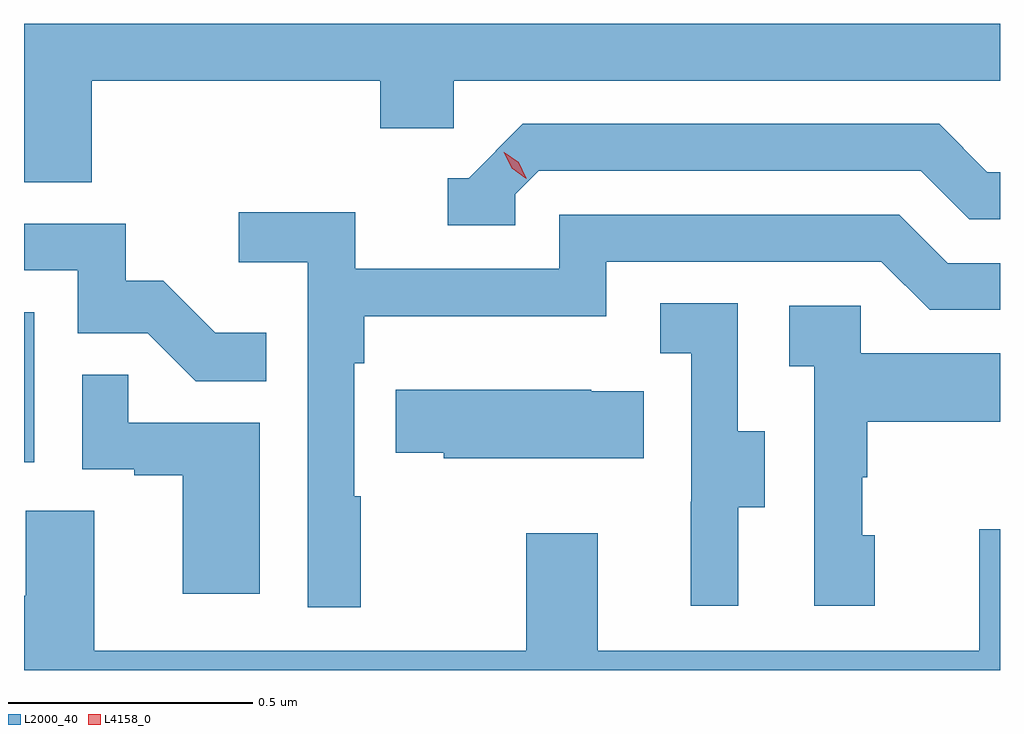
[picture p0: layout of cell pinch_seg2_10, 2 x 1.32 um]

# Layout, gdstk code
import gdstk
lib = gdstk.Library(unit=1e-6, precision=1e-09)
def R(c, l, rs):  # rectangles x0, y0, x1, y1
    for r in rs: c.add(gdstk.rectangle(r[:2], r[2:], *l))
def P(c, l, *ps):  # polygons
    for p in ps: c.add(gdstk.Polygon(p, *l))
L2000_40 = (2000, 40)
L4158_0 = (4158, 0)

pinch_seg2_10 = lib.new_cell('pinch_seg2_10')
R(pinch_seg2_10, L2000_40, [(1142.041,665.502,1142.062,665.809)])
P(pinch_seg2_10, L2000_40, [(1142.18,666.284),(1142.771,666.284),(1142.771,666.186),(1142.922,666.186),(1142.922,666.284),(1144.041,666.284),(1144.041,666.4),(1142.041,666.4),(1142.041,666.076),(1142.18,666.076)],
  [(1143.048,666.051),(1143.096,666.099),(1143.879,666.099),(1143.978,666),(1144.041,666),(1144.041,666.096),(1144.015,666.096),(1143.916,666.195),(1143.063,666.195),(1142.952,666.084),(1142.909,666.084),(1142.909,665.988),(1143.048,665.988)],
  [(1142.731,665.432),(1142.718,665.432),(1142.718,665.705),(1142.738,665.705),(1142.738,665.801),(1143.234,665.801),(1143.234,665.913),(1143.798,665.913),(1143.897,665.814),(1144.041,665.814),(1144.041,665.91),(1143.934,665.91),(1143.835,666.009),(1143.138,666.009),(1143.138,665.898),(1142.72,665.898),(1142.72,666.014),(1142.481,666.014),(1142.481,665.912),(1142.622,665.912),(1142.622,665.205),(1142.731,665.205)],
  [(1142.537,665.767),(1142.433,665.767),(1142.326,665.874),(1142.25,665.874),(1142.25,665.991),(1142.041,665.991),(1142.041,665.895),(1142.151,665.895),(1142.151,665.766),(1142.295,665.766),(1142.393,665.668),(1142.537,665.668)],
  [(1143.505,665.41),(1143.559,665.41),(1143.559,665.565),(1143.504,665.565),(1143.504,665.828),(1143.345,665.828),(1143.345,665.725),(1143.408,665.725),(1143.408,665.421),(1143.407,665.421),(1143.407,665.208),(1143.505,665.208)],
  [(1143.784,665.352),(1143.759,665.352),(1143.759,665.471),(1143.769,665.471),(1143.769,665.585),(1144.041,665.585),(1144.041,665.725),(1143.756,665.725),(1143.756,665.823),(1143.609,665.823),(1143.609,665.699),(1143.66,665.699),(1143.66,665.208),(1143.784,665.208)],
  [(1142.524,665.583),(1142.255,665.583),(1142.255,665.681),(1142.16,665.681),(1142.16,665.487),(1142.267,665.487),(1142.267,665.475),(1142.366,665.475),(1142.366,665.232),(1142.524,665.232)],
  [(1143.311,665.647),(1143.203,665.647),(1143.203,665.65),(1142.803,665.65),(1142.803,665.521),(1142.901,665.521),(1142.901,665.51),(1143.311,665.51)],
  [(1144.041,665.365),(1143.998,665.365),(1143.998,665.116),(1143.217,665.116),(1143.217,665.356),(1143.07,665.356),(1143.07,665.116),(1142.185,665.116),(1142.185,665.402),(1142.045,665.402),(1142.045,665.228),(1142.041,665.228),(1142.041,665.076),(1144.041,665.076)])
P(pinch_seg2_10, L4158_0, [(1143.07,666.083),(1143.04,666.104),(1143.024,666.137),(1143.024,666.137),(1143.025,666.137),(1143.055,666.117),(1143.07,666.084),(1143.07,666.083)])

lib.write_gds('pinch_seg2_10.gds')
